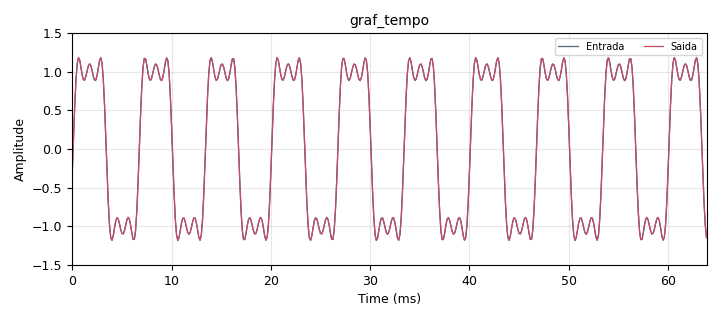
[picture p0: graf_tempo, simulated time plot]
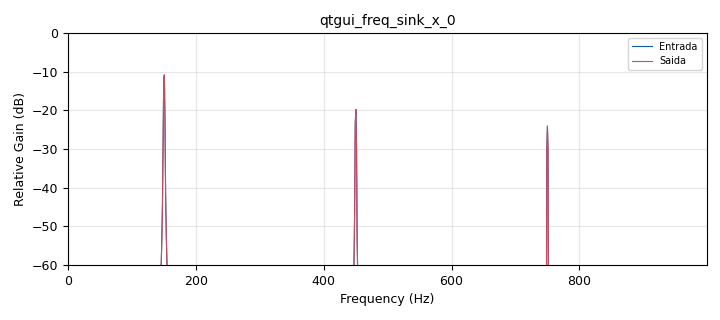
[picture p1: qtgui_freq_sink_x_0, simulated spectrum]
options:
  parameters:
    author: Leocarlos Bezerra da Silva Lima
    category: Custom
    description: Experimento para Laboratório de Princípios de Comunicações. Departamento de Engenharia Elétrica - DEE da Universidade Federal de Campina Grande - UFCG.
    generate_options: qt_gui
    id: Labo1_3
    output_language: python
    title: Distorcao de sinais em canais de comunicacao
  states: {}

blocks:
- name: a1
  id: variable_qtgui_range
  parameters:
    gui_hint: 'Tab@0: [0,0,1,2]'
    label: 'Componente harmonico #1'
    outputmsgname: value
    showports: 'False'
    start: '0'
    step: '0.1'
    stop: '2'
    value: '1'
  states: {}
- name: a2
  id: variable_qtgui_range
  parameters:
    gui_hint: 'Tab@0: [1,0,1,2]'
    label: 'Componente harmonico #3'
    outputmsgname: value
    showports: 'False'
    start: '0'
    step: '0.1'
    stop: '2'
    value: '1'
  states: {}
- name: a3
  id: variable_qtgui_range
  parameters:
    gui_hint: 'Tab@0: [2,0,1,2]'
    label: 'Componente harmonico #5'
    outputmsgname: value
    showports: 'False'
    start: '0'
    step: '0.1'
    stop: '2'
    value: '1'
  states: {}
- name: f0
  id: variable
  parameters:
    value: '150'
  states: {}
- name: samp_rate
  id: variable
  parameters:
    value: '8000'
  states: {}
- name: theta1
  id: variable_qtgui_range
  parameters:
    gui_hint: 'Tab@1: [0,0,1,2]'
    label: 'Componente harmonico #1'
    min_len: '100'
    outputmsgname: value
    showports: 'False'
    start: '0'
    step: '500'
    stop: '20000'
    value: '0'
  states: {}
- name: theta2
  id: variable_qtgui_range
  parameters:
    gui_hint: 'Tab@1: [2,0,1,2]'
    label: 'Componente harmonico #3'
    outputmsgname: value
    showports: 'False'
    start: '0'
    step: '500'
    stop: '20000'
    value: '0'
  states: {}
- name: theta3
  id: variable_qtgui_range
  parameters:
    gui_hint: 'Tab@1: [3,0,1,2]'
    label: 'Componente harmonico #5'
    outputmsgname: value
    showports: 'False'
    start: '0'
    step: '500'
    stop: '20000'
    value: '0'
  states: {}
- name: A1
  id: blocks_multiply_const_vxx
  parameters:
    alias: A1
    const: a1
    type: float
  states: {}
- name: Tab
  id: qtgui_tab_widget
  parameters:
    gui_hint: 4,0,2,2
    label0: 'Ganho/Atenuacao '
    label1: Deslocamento de fase
    num_tabs: '2'
  states: {}
- name: blocks_delay_0
  id: blocks_delay
  parameters:
    delay: int(theta1/(2*3.14*f0))
    type: float
  states: {}
- name: blocks_delay_0_0
  id: blocks_delay
  parameters:
    delay: int(theta2/(2*3.14*3*f0))
    type: float
  states: {}
- name: blocks_delay_0_1
  id: blocks_delay
  parameters:
    delay: int(theta3/(2*3.14*5*f0))
    type: float
  states: {}
- name: blocks_multiply_const_vxx_0_0
  id: blocks_multiply_const_vxx
  parameters:
    const: a2
    type: float
  states: {}
- name: blocks_multiply_const_vxx_0_1
  id: blocks_multiply_const_vxx
  parameters:
    const: a3
    type: float
  states: {}
- name: blocks_throttle_0
  id: blocks_throttle
  parameters:
    samples_per_second: samp_rate
    type: float
  states: {}
- name: fundamental
  id: analog_sig_source_x
  parameters:
    amp: '1.27'
    freq: '150'
    offset: '0'
    phase: '0'
    samp_rate: samp_rate
    type: float
    waveform: analog.GR_SIN_WAVE
  states: {}
- name: graf_tempo
  id: qtgui_time_sink_x
  parameters:
    grid: 'True'
    gui_hint: 0, 0, 2, 2
    label1: Entrada
    label2: Saida
    nconnections: '2'
    size: '512'
    srate: samp_rate
    tr_mode: qtgui.TRIG_MODE_AUTO
    type: float
    update_time: '0.1'
    ymax: '1.5'
    ymin: '-1.5'
  states: {}
- name: harmonica_1
  id: analog_sig_source_x
  parameters:
    amp: '0.42'
    freq: '450'
    offset: '0'
    phase: '0'
    samp_rate: samp_rate
    type: float
    waveform: analog.GR_SIN_WAVE
  states: {}
- name: harmonica_2
  id: analog_sig_source_x
  parameters:
    amp: '0.25'
    freq: '750'
    offset: '0'
    phase: '0'
    samp_rate: samp_rate
    type: float
    waveform: analog.GR_SIN_WAVE
  states: {}
- name: qtgui_freq_sink_x_0
  id: qtgui_freq_sink_x
  parameters:
    bw: samp_rate/4
    fc: '0'
    fftsize: '2048'
    freqhalf: 'False'
    grid: 'True'
    gui_hint: 0,2,2,2
    label1: Entrada
    label2: Saida
    nconnections: '2'
    showports: 'True'
    type: float
    update_time: '0.5'
    wintype: window.WIN_HANN
    ymax: '0'
    ymin: '-60'
  states: {}
- name: rational_resampler_xxx_0
  id: rational_resampler_xxx
  parameters:
    decim: '4'
    interp: '1'
    taps: ''
    type: fff
  states: {}
- name: rational_resampler_xxx_0_0
  id: rational_resampler_xxx
  parameters:
    decim: '4'
    interp: '1'
    taps: ''
    type: fff
  states: {}
- name: somador
  id: blocks_add_xx
  parameters:
    num_inputs: '3'
    type: float
  states: {}
- name: somador_0
  id: blocks_add_xx
  parameters:
    num_inputs: '3'
    type: float
  states: {}

connections:
- [A1, '0', blocks_delay_0, '0']
- [blocks_delay_0, '0', somador, '0']
- [blocks_delay_0_0, '0', somador, '1']
- [blocks_delay_0_1, '0', somador, '2']
- [blocks_multiply_const_vxx_0_0, '0', blocks_delay_0_0, '0']
- [blocks_multiply_const_vxx_0_1, '0', blocks_delay_0_1, '0']
- [blocks_throttle_0, '0', A1, '0']
- [blocks_throttle_0, '0', somador_0, '0']
- [fundamental, '0', blocks_throttle_0, '0']
- [harmonica_1, '0', blocks_multiply_const_vxx_0_0, '0']
- [harmonica_1, '0', somador_0, '1']
- [harmonica_2, '0', blocks_multiply_const_vxx_0_1, '0']
- [harmonica_2, '0', somador_0, '2']
- [rational_resampler_xxx_0, '0', qtgui_freq_sink_x_0, '0']
- [rational_resampler_xxx_0_0, '0', qtgui_freq_sink_x_0, '1']
- [somador, '0', graf_tempo, '0']
- [somador, '0', rational_resampler_xxx_0_0, '0']
- [somador_0, '0', graf_tempo, '1']
- [somador_0, '0', rational_resampler_xxx_0, '0']

metadata:
  file_format: 1
  grc_version: 3.10.4.0
